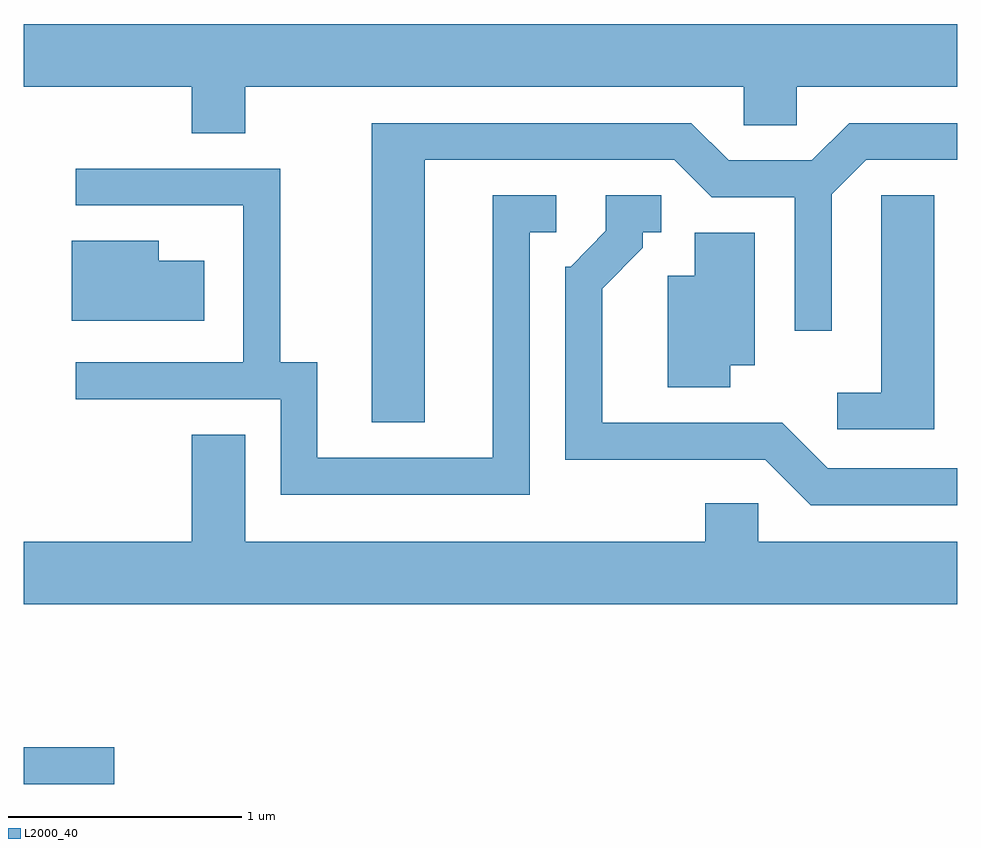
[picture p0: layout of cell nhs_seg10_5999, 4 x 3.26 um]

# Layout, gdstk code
import gdstk
lib = gdstk.Library(unit=1e-6, precision=1e-09)
def R(c, l, rs):  # rectangles x0, y0, x1, y1
    for r in rs: c.add(gdstk.rectangle(r[:2], r[2:], *l))
def P(c, l, *ps):  # polygons
    for p in ps: c.add(gdstk.Polygon(p, *l))
L2000_40 = (2000, 40)

nhs_seg10_5999 = lib.new_cell('nhs_seg10_5999')
R(nhs_seg10_5999, L2000_40, [(361.611,2188.626,361.998,2188.784)])
P(nhs_seg10_5999, L2000_40, [(362.559,2191.616),(364.696,2191.616),(364.696,2191.451),(364.924,2191.451),(364.924,2191.616),(365.611,2191.616),(365.611,2191.884),(361.611,2191.884),(361.611,2191.616),(362.331,2191.616),(362.331,2191.416),(362.559,2191.416)],
  [(363.329,2191.301),(364.399,2191.301),(364.559,2191.141),(364.916,2191.141),(364.916,2190.568),(365.074,2190.568),(365.074,2191.154),(365.222,2191.301),(365.611,2191.301),(365.611,2191.459),(365.149,2191.459),(364.989,2191.299),(364.632,2191.299),(364.472,2191.459),(363.101,2191.459),(363.101,2190.176),(363.329,2190.176)],
  [(363.779,2190.991),(363.893,2190.991),(363.893,2191.149),(363.621,2191.149),(363.621,2190.024),(362.869,2190.024),(362.869,2190.434),(362.709,2190.434),(362.709,2191.264),(361.833,2191.264),(361.833,2191.106),(362.551,2191.106),(362.551,2190.434),(361.833,2190.434),(361.833,2190.276),(362.711,2190.276),(362.711,2189.866),(363.779,2189.866)],
  [(365.514,2191.149),(365.286,2191.149),(365.286,2190.304),(365.098,2190.304),(365.098,2190.146),(365.514,2190.146)],
  [(365.611,2189.979),(365.057,2189.979),(364.862,2190.174),(364.089,2190.174),(364.089,2190.749),(364.264,2190.924),(364.264,2190.991),(364.343,2190.991),(364.343,2191.149),(364.106,2191.149),(364.106,2190.997),(363.954,2190.844),(363.931,2190.844),(363.931,2190.016),(364.789,2190.016),(364.984,2189.821),(365.611,2189.821)],
  [(364.639,2190.421),(364.744,2190.421),(364.744,2190.989),(364.486,2190.989),(364.486,2190.804),(364.371,2190.804),(364.371,2190.326),(364.639,2190.326)],
  [(362.384,2190.869),(362.189,2190.869),(362.189,2190.954),(361.816,2190.954),(361.816,2190.611),(362.384,2190.611)],
  [(365.611,2189.664),(364.759,2189.664),(364.759,2189.829),(364.531,2189.829),(364.531,2189.664),(362.559,2189.664),(362.559,2190.124),(362.331,2190.124),(362.331,2189.664),(361.611,2189.664),(361.611,2189.396),(365.611,2189.396)])

lib.write_gds('nhs_seg10_5999.gds')
